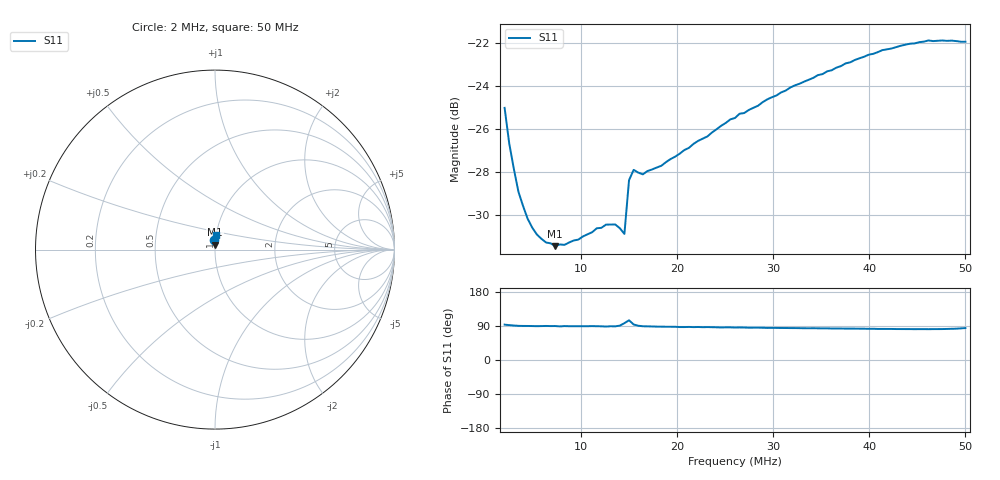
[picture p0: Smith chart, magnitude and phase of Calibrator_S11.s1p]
# Hz S RI R 50
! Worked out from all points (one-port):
!   101 points, 2 MHz to 50 MHz, reference 50 ohm
!   lowest |S11| = -31.5 dB at 7.28 MHz (marker M1), VSWR 1.05, Z = 49.9 + j2.67 ohm
!   |S11| at or under -10 dB: start of sweep to end of sweep
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2000000  -0.00329 0.0561
2480000  -0.00161 0.0464
3440000  -5.68e-05 0.0358
4400000  0.000103 0.031
5360000  0.000366 0.0285
6320000  6.85e-05 0.0273
7280000  0.000168 0.0268
8240000  0.000227 0.0269
1.256e7  0.000899 0.03
1.352e7  0.000596 0.0301
1.4e7  -0.000357 0.0295
1.448e7  -0.00357 0.0283
1.496e7  -0.00976 0.0368
1.544e7  -0.00263 0.0402
1.64e7  0.000638 0.0393
1.832e7  0.00147 0.0411
2.024e7  0.00234 0.0439
2.312e7  0.00261 0.0481
2.552e7  0.00361 0.0527
2.6e7  0.00402 0.0531
2.648e7  0.00395 0.0543
2.696e7  0.00412 0.0545
3.224e7  0.00641 0.0631
3.8e7  0.00883 0.0712
4.136e7  0.0106 0.0758
4.424e7  0.0116 0.0784
4.616e7  0.0121 0.0797
5e7  0.008 0.0797
